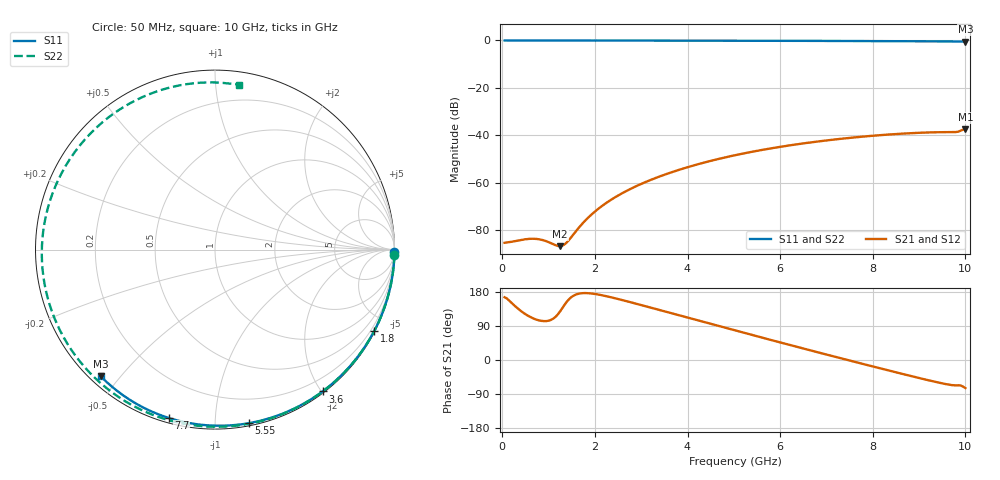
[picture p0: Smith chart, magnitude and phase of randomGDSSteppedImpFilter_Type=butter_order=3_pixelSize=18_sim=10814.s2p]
! freq	dB(S11)	phase(S11)	dB(S12)	phase(S12)
!  dB(S21)	phase(S21)	dB(S22)	phase(S22)
!S-par simulation data
#  GHz  S  DB  R 50
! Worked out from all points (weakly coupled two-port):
!   200 points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, 50 MHz to 10 GHz, reference 50 ohm
!   highest |S21| = -37.57 dB at 10 GHz (marker M1); lowest = -86.8 dB at 1.25 GHz (marker M2)
!   lowest |S11| = -0.5 dB at 10 GHz (marker M3), VSWR 37.99, Z = 1.58 - j22.3 ohm
!   |S11| at or under -10 dB: nowhere
!   |S22| runs from -0.6 to 0.0 dB; largest |S21 - S12| = 0
!   S11 on the Smith chart (normalised r, x): 50 MHz: open; 1.8 GHz: 0.04, -4.16; 3.6 GHz: 0.02, -2.01; 5.55 GHz: 0.02, -1.21; 7.7 GHz: 0.02, -0.76; 10 GHz: 0.03, -0.45
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0.05  -0.00 -0.8  -85.42 165.6  -85.42 165.6  -0.00 -1.6
0.6  -0.01 -9.1  -83.73 113.8  -83.73 113.8  -0.02 -18.9
1.25  -0.02 -18.9  -86.84 128.5  -86.84 128.5  -0.05 -38.9
1.6  -0.03 -24.1  -80.28 173.2  -80.28 173.2  -0.06 -49.3
1.75  -0.03 -26.3  -76.87 176.5  -76.87 176.5  -0.07 -53.8
1.8  -0.03 -27.0  -75.84 176.6  -75.84 176.6  -0.07 -55.2
2.1  -0.04 -31.4  -70.65 172.1  -70.65 172.1  -0.08 -63.9
2.45  -0.05 -36.5  -66.03 162.5  -66.03 162.5  -0.09 -73.8
2.9  -0.06 -43.0  -61.43 148.2  -61.43 148.2  -0.11 -86.1
3.4  -0.07 -50.1  -57.40 131.8  -57.40 131.8  -0.12 -99.3
3.6  -0.07 -52.8  -56.00 125.2  -56.00 125.2  -0.13 -104.5
4.3  -0.09 -62.4  -51.85 102.0  -51.85 102.0  -0.16 -122.1
5.05  -0.11 -72.4  -48.34 77.3  -48.34 77.3  -0.20 -140.3
5.55  -0.13 -78.9  -46.42 61.0  -46.42 61.0  -0.23 -152.2
6.15  -0.15 -86.5  -44.45 41.5  -44.45 41.5  -0.27 -166.5
6.7  -0.18 -93.4  -42.94 23.9  -42.94 23.9  -0.31 -179.9
7.2  -0.21 -99.4  -41.75 8.1  -41.75 8.1  -0.35 167.6
7.7  -0.24 -105.4  -40.75 -7.7  -40.75 -7.7  -0.40 154.6
8.35  -0.29 -113.0  -39.70 -27.9  -39.70 -27.9  -0.46 136.6
9.25  -0.37 -123.4  -38.80 -54.8  -38.80 -54.8  -0.55 108.6
9.8  -0.42 -129.7  -38.67 -66.9  -38.67 -66.9  -0.62 89.1
10  -0.46 -131.9  -37.57 -74.0  -37.57 -74.0  -0.64 81.6
